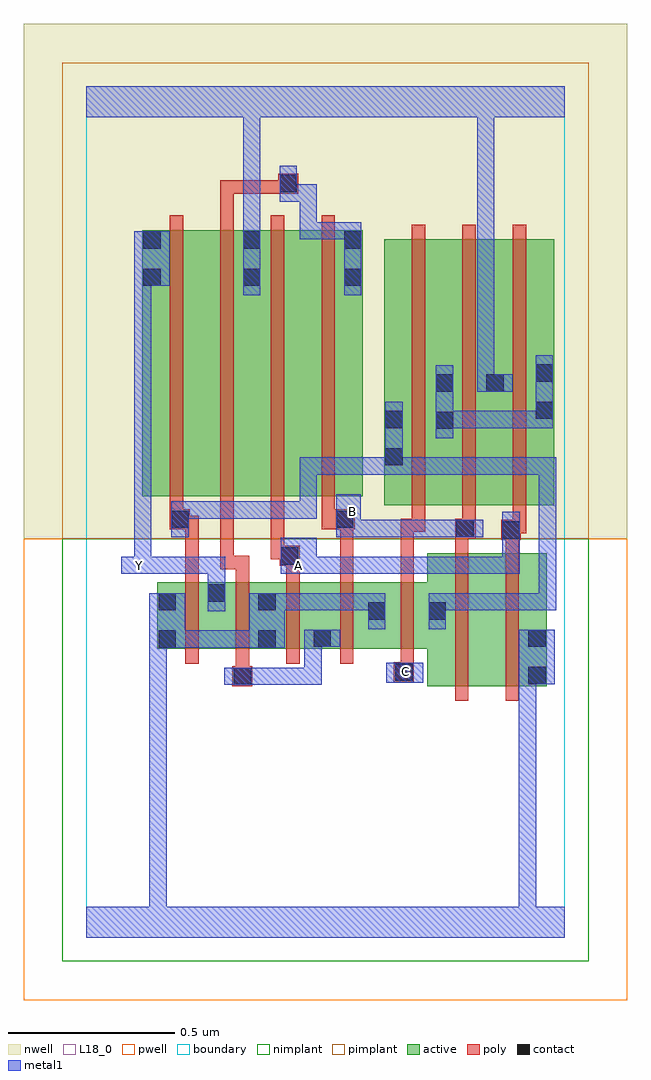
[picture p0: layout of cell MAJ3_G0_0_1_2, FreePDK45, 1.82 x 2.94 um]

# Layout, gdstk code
import gdstk
lib = gdstk.Library(unit=1e-6, precision=1e-09)
def R(c, l, rs):  # rectangles x0, y0, x1, y1
    for r in rs: c.add(gdstk.rectangle(r[:2], r[2:], *l))
def A(c, l, x, y, w, h, nx, ny, dx, dy):  # array of equal rectangles
    R(c, l, [(x+i*dx, y+j*dy, x+i*dx+w, y+j*dy+h) for i in range(nx) for j in range(ny)])
active = (1, 0)
pwell = (2, 0)
nwell = (3, 0)
nimplant = (4, 0)
pimplant = (5, 0)
poly = (9, 0)
contact = (10, 0)
metal1 = (11, 0)
L18_0 = (18, 0)
boundary = (235, 0)

maj3_g0_0_1_2 = lib.new_cell('MAJ3_G0_0_1_2')
R(maj3_g0_0_1_2, active, [(1.026,0.756,1.206,1.156), (1.206,0.756,1.386,1.156), (1.326,0.756,1.386,1.156), (0.214,0.868,0.274,1.068), (0.214,0.868,0.422,1.068), (0.362,0.868,0.422,1.068), (0.362,0.868,0.574,1.068), (0.514,0.868,0.74,1.068), (0.514,0.868,0.574,1.068), (0.68,0.868,0.904,1.068), (0.68,0.868,0.74,0.93), (0.844,0.868,1.086,1.068), (0.844,0.952,0.904,1.012), (1.026,0.952,1.086,1.012), (0.896,1.3,0.956,2.044), (0.896,1.3,1.108,2.1), (1.048,1.3,1.26,2.1), (1.048,1.3,1.108,2.1), (1.2,1.3,1.26,2.044), (1.2,1.3,1.408,2.1), (1.348,1.3,1.408,2.044), (0.168,1.328,0.228,2.128), (0.168,1.328,0.348,2.128), (0.348,1.328,0.528,2.128), (0.468,1.328,0.528,2.128), (0.468,1.328,0.652,2.128), (0.652,1.328,0.832,2.128), (0.772,1.328,0.832,2.128)])
R(maj3_g0_0_1_2, pwell, [(-0.188,-0.188,1.628,1.2)])
R(maj3_g0_0_1_2, nwell, [(-0.188,1.2,1.628,2.748)])
R(maj3_g0_0_1_2, nimplant, [(-0.072,-0.072,1.512,1.2)])
R(maj3_g0_0_1_2, pimplant, [(-0.072,1.2,1.512,2.632)])
A(maj3_g0_0_1_2, poly, 0.298, 0.824, 0.04, 0.288, 3, 1, 0.152, 0)
A(maj3_g0_0_1_2, poly, 0.98, 1.256, 0.04, 0.888, 3, 1, 0.152, 0)
A(maj3_g0_0_1_2, poly, 0.252, 1.284, 0.04, 0.888, 4, 1, 0.152, 0)
R(maj3_g0_0_1_2, poly, [(1.11,0.712,1.15,1.2), (1.262,0.712,1.302,1.2), (0.44,0.756,0.5,0.816), (0.926,0.768,0.986,0.828), (0.45,0.776,0.49,0.864), (0.946,0.788,0.986,0.864), (0.764,0.824,0.804,1.112), (0.946,0.824,0.986,1.112), (0.298,1.072,0.338,1.268), (0.45,1.072,0.49,1.148), (0.602,1.072,0.642,1.158), (0.764,1.072,0.804,1.268), (0.946,1.072,0.986,1.26), (0.404,1.108,0.444,1.148), (0.404,1.108,0.444,1.148), (0.404,1.108,0.444,1.324), (0.404,1.108,0.49,1.148), (0.582,1.118,0.642,1.178), (0.556,1.138,0.596,1.324), (0.556,1.138,0.622,1.178), (0.582,1.138,0.622,1.178), (1.11,1.16,1.15,1.24), (1.262,1.16,1.302,1.236), (1.248,1.196,1.308,1.256), (1.11,1.2,1.15,1.24), (1.11,1.2,1.15,1.24), (1.11,1.2,1.172,1.26), (1.268,1.216,1.308,1.256), (1.268,1.216,1.324,1.256), (1.284,1.216,1.324,1.296), (0.946,1.22,1.02,1.26), (0.98,1.22,1.02,1.26), (0.98,1.22,1.02,1.26), (0.98,1.22,1.02,1.296), (1.132,1.22,1.172,1.296), (0.252,1.228,0.312,1.288), (0.272,1.228,0.312,1.268), (0.272,1.228,0.338,1.268), (0.708,1.228,0.808,1.288), (0.764,1.228,0.804,1.268), (0.764,1.228,0.804,1.268), (0.252,1.248,0.292,1.324), (0.708,1.248,0.748,1.324), (0.404,2.132,0.444,2.278), (0.404,2.238,0.444,2.278), (0.404,2.238,0.444,2.278), (0.404,2.238,0.444,2.278), (0.404,2.238,0.618,2.278), (0.578,2.238,0.638,2.298)])
R(maj3_g0_0_1_2, contact, [(0.444,0.76,0.496,0.812), (1.33,0.762,1.382,0.814), (0.93,0.772,0.982,0.824), (0.218,0.872,0.27,0.924), (0.518,0.872,0.57,0.924), (0.684,0.874,0.736,0.926), (1.33,0.874,1.382,0.926), (0.848,0.956,0.9,1.008), (1.03,0.956,1.082,1.008), (0.218,0.984,0.27,1.036), (0.518,0.984,0.57,1.036), (0.366,1.01,0.418,1.062), (0.586,1.122,0.638,1.174), (1.252,1.2,1.304,1.252), (1.114,1.204,1.166,1.256), (0.256,1.232,0.308,1.284), (0.752,1.232,0.804,1.284), (0.9,1.42,0.952,1.472), (1.052,1.53,1.104,1.582), (0.9,1.532,0.952,1.584), (1.352,1.56,1.404,1.612), (1.052,1.642,1.104,1.694), (1.204,1.642,1.256,1.694), (1.352,1.672,1.404,1.724), (0.172,1.96,0.224,2.012), (0.472,1.96,0.524,2.012), (0.776,1.96,0.828,2.012), (0.172,2.072,0.224,2.124), (0.472,2.072,0.524,2.124), (0.776,2.072,0.828,2.124), (0.582,2.242,0.634,2.294)])
R(maj3_g0_0_1_2, metal1, [(0,0,1.44,0.092), (0.19,0.04,0.242,0.092), (0.19,0.04,0.242,0.092), (0.19,0.04,0.242,0.092), (0.19,0.04,0.242,0.092), (0.19,0.04,0.242,0.092), (0.19,0.04,0.242,0.092), (0.19,0.04,0.242,0.092), (0.19,0.04,0.242,0.092), (0.19,0.04,0.242,0.092), (0.19,0.04,0.242,0.092), (0.19,0.04,0.242,0.092), (0.19,0.04,0.242,0.092), (0.19,0.04,0.242,0.202), (1.302,0.04,1.354,0.092), (1.302,0.04,1.354,0.092), (1.302,0.04,1.354,0.092), (1.302,0.04,1.354,0.092), (1.302,0.04,1.354,0.092), (1.302,0.04,1.354,0.092), (1.302,0.04,1.354,0.092), (1.302,0.04,1.354,0.092), (1.302,0.04,1.354,0.092), (1.302,0.04,1.354,0.092), (1.302,0.04,1.354,0.092), (1.302,0.04,1.354,0.092), (1.302,0.04,1.354,0.814), (0.19,0.15,0.242,0.202), (0.19,0.15,0.242,0.202), (0.19,0.15,0.242,0.202), (0.19,0.15,0.242,0.924), (0.416,0.76,0.524,0.812), (0.472,0.76,0.524,0.812), (0.472,0.76,0.524,0.812), (0.472,0.76,0.694,0.812), (0.642,0.76,0.694,0.812), (0.642,0.76,0.708,0.812), (0.656,0.76,0.708,0.812), (0.656,0.76,0.708,0.926), (1.302,0.762,1.41,0.926), (0.902,0.766,1.014,0.826), (0.19,0.872,0.298,1.036), (0.246,0.872,0.298,0.924), (0.246,0.872,0.298,0.924), (0.246,0.872,0.414,0.924), (0.362,0.872,0.414,0.924), (0.362,0.872,0.418,0.924), (0.366,0.872,0.418,0.924), (0.366,0.872,0.542,0.924), (0.49,0.872,0.598,1.036), (0.656,0.874,0.764,0.926), (0.848,0.928,0.9,1.036), (1.03,0.928,1.082,1.036), (0.366,0.982,0.418,1.09), (0.532,0.984,0.584,1.036), (0.532,0.984,0.584,1.036), (0.532,0.984,0.694,1.036), (0.642,0.984,0.694,1.036), (0.642,0.984,0.708,1.036), (0.656,0.984,0.708,1.036), (0.656,0.984,0.804,1.036), (0.752,0.984,0.804,1.036), (0.752,0.984,0.9,1.036), (1.03,0.984,1.082,1.036), (1.03,0.984,1.082,1.036), (1.03,0.984,1.244,1.036), (1.192,0.984,1.244,1.036), (1.192,0.984,1.414,1.036), (1.362,0.984,1.414,1.036), (1.362,0.984,1.414,1.036), (1.362,0.984,1.414,1.036), (1.362,0.984,1.414,1.036), (1.362,0.984,1.414,1.036), (1.362,0.984,1.414,1.444), (0.366,1.038,0.418,1.146), (0.106,1.094,0.214,1.146), (0.144,1.094,0.196,1.146), (0.144,1.094,0.196,1.146), (0.144,1.094,0.196,2.012), (0.162,1.094,0.214,1.146), (0.162,1.094,0.214,1.146), (0.162,1.094,0.418,1.146), (0.366,1.094,0.418,1.146), (0.586,1.094,0.694,1.202), (0.642,1.094,0.694,1.146), (0.642,1.094,0.694,1.146), (0.642,1.094,0.826,1.146), (0.774,1.094,0.826,1.146), (0.774,1.094,0.826,1.146), (0.774,1.094,0.826,1.146), (0.774,1.094,0.952,1.146), (0.9,1.094,0.952,1.146), (0.9,1.094,0.952,1.146), (0.9,1.094,0.952,1.146), (0.9,1.094,1.118,1.146), (1.066,1.094,1.118,1.146), (1.066,1.094,1.118,1.146), (1.066,1.094,1.118,1.146), (1.066,1.094,1.228,1.146), (1.176,1.094,1.228,1.146), (1.176,1.094,1.304,1.146), (1.252,1.094,1.304,1.28), (0.256,1.204,0.308,1.312), (0.752,1.204,0.826,1.334), (0.774,1.204,0.826,1.256), (0.774,1.204,0.826,1.256), (0.774,1.204,0.952,1.256), (0.9,1.204,0.952,1.256), (0.9,1.204,0.952,1.256), (0.9,1.204,0.952,1.256), (0.9,1.204,1.118,1.256), (1.066,1.204,1.118,1.256), (1.066,1.204,1.138,1.256), (1.086,1.204,1.194,1.256), (0.256,1.26,0.408,1.312), (0.356,1.26,0.408,1.312), (0.356,1.26,0.418,1.312), (0.366,1.26,0.418,1.312), (0.366,1.26,0.524,1.312), (0.472,1.26,0.524,1.312), (0.472,1.26,0.694,1.312), (0.642,1.26,0.694,1.312), (0.642,1.26,0.694,1.312), (0.642,1.26,0.694,1.312), (0.642,1.26,0.694,1.444), (0.642,1.392,0.694,1.444), (0.642,1.392,0.826,1.444), (0.774,1.392,0.826,1.444), (0.774,1.392,0.826,1.444), (0.774,1.392,0.826,1.444), (0.774,1.392,0.952,1.444), (0.9,1.392,0.952,1.612), (0.9,1.392,0.952,1.444), (0.9,1.392,0.952,1.444), (0.9,1.392,1.118,1.444), (1.066,1.392,1.118,1.444), (1.066,1.392,1.118,1.444), (1.066,1.392,1.118,1.444), (1.066,1.392,1.228,1.444), (1.176,1.392,1.228,1.444), (1.176,1.392,1.414,1.444), (1.362,1.392,1.414,1.444), (1.362,1.392,1.414,1.444), (1.362,1.392,1.414,1.444), (1.362,1.392,1.414,1.444), (1.362,1.392,1.414,1.444), (1.052,1.502,1.104,1.722), (1.052,1.532,1.104,1.584), (1.052,1.532,1.104,1.584), (1.052,1.532,1.244,1.584), (1.192,1.532,1.404,1.584), (1.192,1.532,1.244,1.584), (1.192,1.532,1.244,1.584), (1.192,1.532,1.244,1.584), (1.352,1.532,1.404,1.752), (1.176,1.642,1.228,2.52), (1.176,1.642,1.284,1.694), (0.472,1.932,0.524,2.152), (0.776,1.932,0.828,2.152), (0.144,1.96,0.252,2.124), (0.472,2.1,0.524,2.52), (0.642,2.1,0.694,2.152), (0.642,2.1,0.828,2.152), (0.642,2.1,0.694,2.266), (0.776,2.1,0.828,2.152), (0.776,2.1,0.828,2.152), (0.582,2.214,0.634,2.322), (0.582,2.214,0.694,2.266), (0.642,2.214,0.694,2.266), (0,2.468,1.44,2.56), (0.472,2.468,0.524,2.52), (0.472,2.468,0.524,2.52), (0.472,2.468,0.524,2.52), (0.472,2.468,0.524,2.52), (0.472,2.468,0.524,2.52), (0.472,2.468,0.524,2.52), (0.472,2.468,0.524,2.52), (0.472,2.468,0.524,2.52), (1.176,2.468,1.228,2.52), (1.176,2.468,1.228,2.52), (1.176,2.468,1.228,2.52), (1.176,2.468,1.228,2.52), (1.176,2.468,1.228,2.52), (1.176,2.468,1.228,2.52), (1.176,2.468,1.228,2.52), (1.176,2.468,1.228,2.52)])
R(maj3_g0_0_1_2, L18_0, [(0,0,1.44,0.092), (0.19,0.04,0.242,0.092), (0.19,0.04,0.242,0.092), (0.19,0.04,0.242,0.092), (0.19,0.04,0.242,0.092), (0.19,0.04,0.242,0.092), (0.19,0.04,0.242,0.092), (0.19,0.04,0.242,0.092), (0.19,0.04,0.242,0.092), (0.19,0.04,0.242,0.092), (0.19,0.04,0.242,0.092), (0.19,0.04,0.242,0.092), (0.19,0.04,0.242,0.092), (0.19,0.04,0.242,0.202), (1.302,0.04,1.354,0.092), (1.302,0.04,1.354,0.092), (1.302,0.04,1.354,0.092), (1.302,0.04,1.354,0.092), (1.302,0.04,1.354,0.092), (1.302,0.04,1.354,0.092), (1.302,0.04,1.354,0.092), (1.302,0.04,1.354,0.092), (1.302,0.04,1.354,0.092), (1.302,0.04,1.354,0.092), (1.302,0.04,1.354,0.092), (1.302,0.04,1.354,0.092), (1.302,0.04,1.354,0.814), (0.19,0.15,0.242,0.202), (0.19,0.15,0.242,0.202), (0.19,0.15,0.242,0.202), (0.19,0.15,0.242,0.924), (1.302,0.762,1.41,0.926), (0.902,0.766,1.014,0.826), (0.934,0.774,0.986,0.826), (0.19,0.872,0.298,1.036), (0.246,0.872,0.298,0.924), (0.246,0.872,0.298,0.924), (0.246,0.872,0.414,0.924), (0.362,0.872,0.414,0.924), (0.362,0.872,0.418,0.924), (0.366,0.872,0.418,0.924), (0.366,0.872,0.542,0.924), (0.49,0.872,0.598,1.036), (0.848,0.928,0.9,1.036), (0.366,0.982,0.418,1.09), (0.532,0.984,0.584,1.036), (0.532,0.984,0.584,1.036), (0.532,0.984,0.694,1.036), (0.642,0.984,0.694,1.036), (0.642,0.984,0.708,1.036), (0.656,0.984,0.708,1.036), (0.656,0.984,0.804,1.036), (0.752,0.984,0.804,1.036), (0.752,0.984,0.9,1.036), (0.366,1.038,0.418,1.146), (0.106,1.094,0.214,1.146), (0.134,1.094,0.186,1.146), (0.144,1.094,0.196,1.146), (0.144,1.094,0.196,1.146), (0.144,1.094,0.196,2.012), (0.162,1.094,0.214,1.146), (0.162,1.094,0.214,1.146), (0.162,1.094,0.418,1.146), (0.366,1.094,0.418,1.146), (0.586,1.094,0.694,1.202), (0.614,1.094,0.666,1.146), (0.642,1.094,0.694,1.146), (0.642,1.094,0.694,1.146), (0.642,1.094,0.826,1.146), (0.774,1.094,0.826,1.146), (0.774,1.094,0.826,1.146), (0.774,1.094,0.826,1.146), (0.774,1.094,0.952,1.146), (0.9,1.094,0.952,1.146), (0.9,1.094,0.952,1.146), (0.9,1.094,0.952,1.146), (0.9,1.094,1.118,1.146), (1.066,1.094,1.118,1.146), (1.066,1.094,1.118,1.146), (1.066,1.094,1.118,1.146), (1.066,1.094,1.228,1.146), (1.176,1.094,1.228,1.146), (1.176,1.094,1.304,1.146), (1.252,1.094,1.304,1.28), (0.752,1.204,0.826,1.334), (0.774,1.204,0.826,1.256), (0.774,1.204,0.826,1.256), (0.774,1.204,0.952,1.256), (0.9,1.204,0.952,1.256), (0.9,1.204,0.952,1.256), (0.9,1.204,0.952,1.256), (0.9,1.204,1.118,1.256), (1.066,1.204,1.118,1.256), (1.066,1.204,1.138,1.256), (1.086,1.204,1.194,1.256), (0.774,1.254,0.826,1.306), (1.176,1.642,1.284,1.694), (1.176,1.642,1.228,2.52), (0.472,1.932,0.524,2.152), (0.144,1.96,0.252,2.124), (0.472,2.1,0.524,2.52), (0,2.468,1.44,2.56), (0.472,2.468,0.524,2.52), (0.472,2.468,0.524,2.52), (0.472,2.468,0.524,2.52), (0.472,2.468,0.524,2.52), (0.472,2.468,0.524,2.52), (0.472,2.468,0.524,2.52), (0.472,2.468,0.524,2.52), (0.472,2.468,0.524,2.52), (1.176,2.468,1.228,2.52), (1.176,2.468,1.228,2.52), (1.176,2.468,1.228,2.52), (1.176,2.468,1.228,2.52), (1.176,2.468,1.228,2.52), (1.176,2.468,1.228,2.52), (1.176,2.468,1.228,2.52), (1.176,2.468,1.228,2.52)])
R(maj3_g0_0_1_2, boundary, [(0,0,1.44,2.56)])
maj3_g0_0_1_2.add(gdstk.Label('A', (0.64,1.12), layer=11, texttype=0))
maj3_g0_0_1_2.add(gdstk.Label('B', (0.8,1.28), layer=11, texttype=0))
maj3_g0_0_1_2.add(gdstk.Label('C', (0.96,0.8), layer=11, texttype=0))
maj3_g0_0_1_2.add(gdstk.Label('Y', (0.16,1.12), layer=11, texttype=0))

lib.write_gds('MAJ3_G0_0_1_2.gds')
